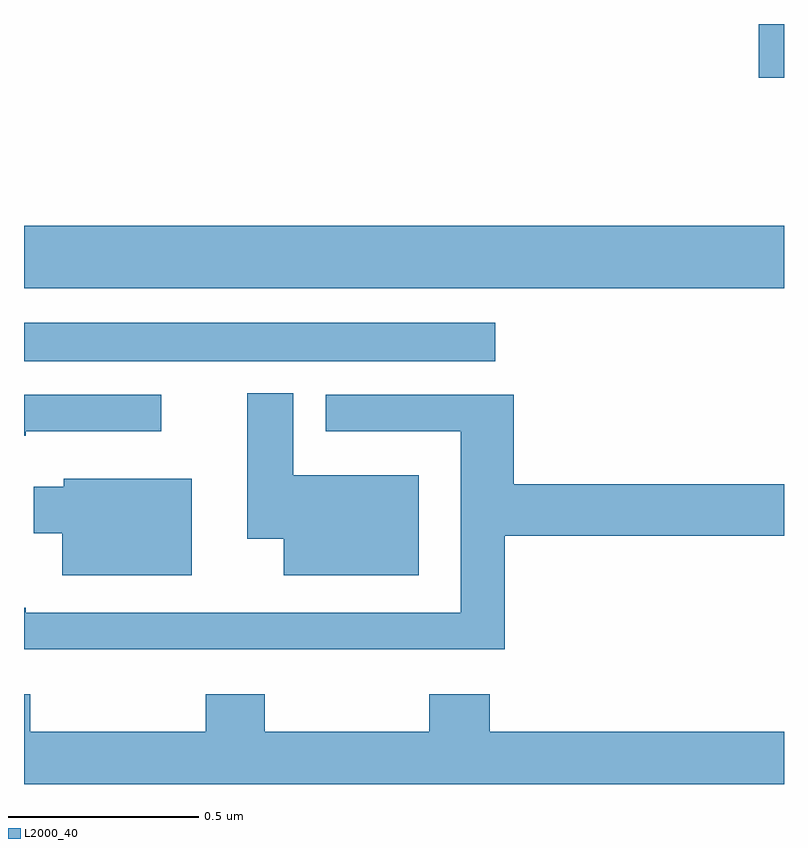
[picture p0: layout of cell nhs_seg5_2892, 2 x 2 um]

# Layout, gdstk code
import gdstk
lib = gdstk.Library(unit=1e-6, precision=1e-09)
def R(c, l, rs):  # rectangles x0, y0, x1, y1
    for r in rs: c.add(gdstk.rectangle(r[:2], r[2:], *l))
def P(c, l, *ps):  # polygons
    for p in ps: c.add(gdstk.Polygon(p, *l))
L2000_40 = (2000, 40)

nhs_seg5_2892 = lib.new_cell('nhs_seg5_2892')
R(nhs_seg5_2892, L2000_40, [(150,845.912,151.24,846.013), (150,846.104,152,846.268), (151.934,846.657,152,846.799)])
P(nhs_seg5_2892, L2000_40, [(151.039,845.611),(150.709,845.611),(150.709,845.827),(150.587,845.827),(150.587,845.444),(150.683,845.444),(150.683,845.348),(151.039,845.348)],
  [(150.389,845.154),(150.721,845.154),(150.721,845.153),(150.977,845.153),(150.977,845.154),(151.265,845.154),(151.265,845.452),(152,845.452),(152,845.588),(151.289,845.588),(151.289,845.823),(150.794,845.823),(150.794,845.727),(151.149,845.727),(151.149,845.25),(150.005,845.25),(150.005,845.263),(150,845.263),(150,845.154),(150.112,845.154),(150.112,845.153),(150.389,845.153)],
  [(150.005,845.727),(150.361,845.727),(150.361,845.823),(150,845.823),(150,845.715),(150.005,845.715)],
  [(150.442,845.602),(150.105,845.602),(150.105,845.581),(150.026,845.581),(150.026,845.459),(150.101,845.459),(150.101,845.348),(150.442,845.348)],
  [(152,844.936),(151.226,844.936),(151.226,845.035),(151.066,845.035),(151.066,844.936),(150.633,844.936),(150.633,845.035),(150.478,845.035),(150.478,844.936),(150.016,844.936),(150.016,845.035),(150,845.035),(150,844.799),(152,844.799)])

lib.write_gds('nhs_seg5_2892.gds')
